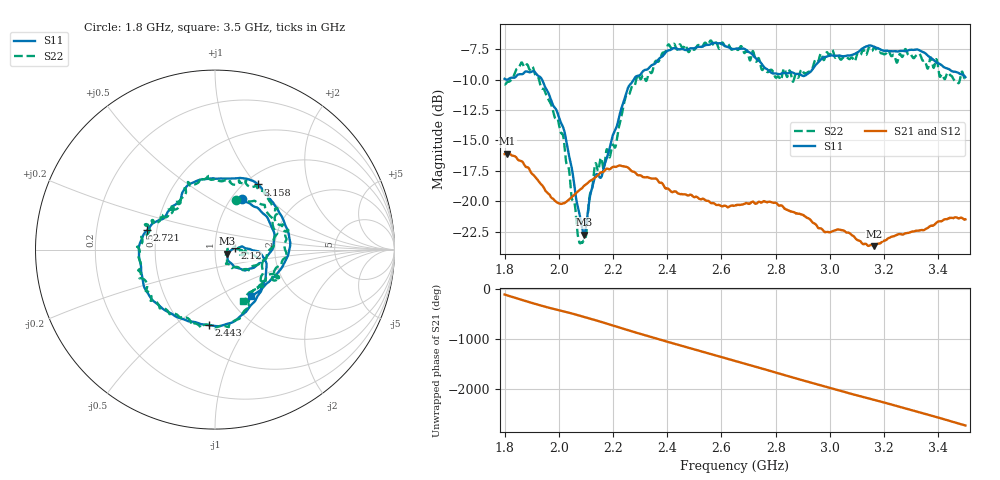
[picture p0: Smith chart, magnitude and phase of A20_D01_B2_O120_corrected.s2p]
! Created with skrf 1.9.0 (http://scikit-rf.org).
# Hz S RI R 50.0
!freq ReS11 ImS11 ReS21 ImS21 ReS12 ImS12 ReS22 ImS22
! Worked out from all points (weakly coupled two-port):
!   1601 points, 1.8 GHz to 3.5 GHz, reference 50 ohm
!   highest |S21| = -16.09 dB at 1.81 GHz (marker M1); lowest = -23.7 dB at 3.163 GHz (marker M2)
!   lowest |S11| = -22.7 dB at 2.093 GHz (marker M3), VSWR 1.16, Z = 57.4 - j2.56 ohm
!   |S11| at or under -10 dB: 1.805502 GHz to 1.808458 GHz (2.956 MHz wide, 0.164 % of centre); 1.938 GHz to 2.276 GHz (337.8 MHz wide, 16 % of centre)
!   |S22| runs from -23.5 to -6.8 dB; largest |S21 - S12| = 0.0031
!   S11 on the Smith chart (normalised r, x): 1.8 GHz: 1.12, +0.70; 2.12 GHz: 1.25, +0.02; 2.443 GHz: 0.66, -0.67; 2.721 GHz: 0.44, +0.11; 3.158 GHz: 1.14, +1.02; 3.5 GHz: 1.26, -0.72
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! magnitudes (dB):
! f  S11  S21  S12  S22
! 1.8 GHz  -9.9  -16.1  -16.1  -10.4
! 1.81 GHz  -10.0  -16.1  -16.1  -10.2
! 1.9 GHz  -9.3  -17.7  -17.6  -8.9
! 1.967 GHz  -11.4  -19.5  -19.6  -11.8
! 2.021 GHz  -14.3  -20.1  -20.2  -15.5
! 2.084 GHz  -21.9  -19.0  -18.9  -23.4
! 2.093 GHz  -22.7  -18.7  -18.8  -23.2
! 2.12 GHz  -19.2  -18.3  -18.3  -19.2
! 2.136 GHz  -17.9  -18.0  -18.0  -16.9
! 2.159 GHz  -17.9  -17.6  -17.6  -16.7
! 2.209 GHz  -14.1  -17.2  -17.1  -15.5
! 2.258 GHz  -10.6  -17.3  -17.3  -11.2
! 2.367 GHz  -8.3  -18.4  -18.3  -8.5
! 2.443 GHz  -7.5  -19.4  -19.4  -7.2
! 2.65 GHz  -7.5  -20.4  -20.3  -7.4
! 2.721 GHz  -8.1  -20.1  -20.1  -8.0
! 2.813 GHz  -9.5  -20.4  -20.3  -9.8
! 2.934 GHz  -9.2  -21.7  -21.7  -9.2
! 3.158 GHz  -7.2  -23.7  -23.6  -7.6
! 3.163 GHz  -7.3  -23.7  -23.7  -7.3
! 3.217 GHz  -7.6  -23.0  -23.0  -7.6
! 3.5 GHz  -9.8  -21.5  -21.5  -9.8
